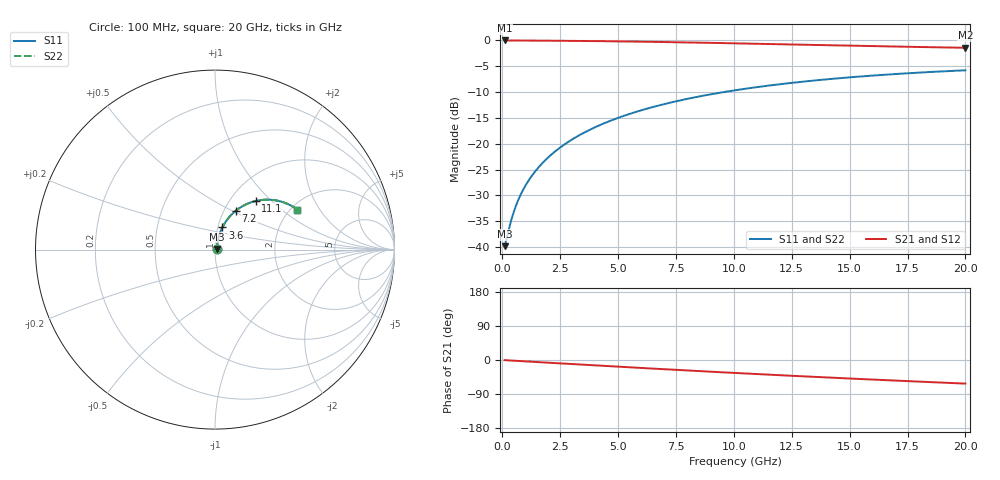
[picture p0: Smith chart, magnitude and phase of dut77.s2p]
! Touchstone file exported from HFSS 2026.1.0
!  File:  C:/ffzhzh/LocalFiles/Ansys_Project_Files/temp_train_TMRDL_77_1782881298_43084.aedt
!  Generated:  12:49:57 PM Jul  1, 2026
!  Design:  TMRDL
!  Project:  temp_train_TMRDL_77_1782881298_43084
! Variables:
!  h_bsmrdl = 2um
!  h_ox = 20um
!  h_rdl = 5um
!  h_sub = 80um
!  h_tmrdl = 2.37um
!  h_tsv = 80um
!  h_via = 3um
!  l_bsmrdl = 300um
!  l_sub = 1396.67um
!  l_tmrdl = 996.67um
!  m_sub = 200um
!  pitch = 35.68um
!  r_tsv = 6um
!  s_tmrdl = 10um
!  w_bsmrdl = 18um
!  w_sub = 500um
!  w_tmrdl = 15.82um
!  x_tsv_center1 = 1004.58um
!  x_tsv_center2 = 1322.58um
!  x_tsv_center3 = 2335.07um
!  x_tsv_center4 = 2653.07um
!  x_tsv_center5 = 3665.56um
!  x_tsv_center6 = 3983.56um
# GHz S MA R 50.000000
! Terminal data exported
! Port[1] = TM_RDL1_1_T1
! Port[2] = TM_RDL1_1_T2
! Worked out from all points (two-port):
!   200 points, 100 MHz to 20 GHz, reference 50 ohm
!   highest |S21| = -0.08 dB at 100 MHz (marker M1); lowest = -1.5 dB at 20 GHz (marker M2)
!   |S21| within 3 dB of the highest: start of sweep to end of sweep
!   lowest |S11| = -39.8 dB at 100 MHz (marker M3), VSWR 1.02, Z = 51 + j0.404 ohm
!   |S11| at or under -10 dB: start of sweep to 9.632 GHz
!   |S22| runs from -39.8 to -5.8 dB; largest |S21 - S12| = 6.3e-15
!   S11 on the Smith chart (normalised r, x): 100 MHz: 1.02, +0.01; 3.6 GHz: 1.05, +0.26; 7.2 GHz: 1.14, +0.53; 11.1 GHz: 1.30, +0.81; 20 GHz: 2.16, +1.30
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0.1  0.01024 22.8  0.9906 -0.4  0.9906 -0.4  0.01024 22.8
! Gamma 0 0 0 0
! Port Impedance 50 0 50 0
0.4  0.01868 56.1  0.9899 -1.5  0.9899 -1.5  0.01868 56.1
0.6  0.02549 63.4  0.9892 -2.2  0.9892 -2.2  0.02549 63.4
0.7  0.02894 65.7  0.9889 -2.6  0.9889 -2.6  0.02894 65.7
0.9  0.03586 68.7  0.9883 -3.3  0.9883 -3.3  0.03586 68.7
1.2  0.04628 71.3  0.9875 -4.3  0.9875 -4.3  0.04628 71.3
1.7  0.06375 73.2  0.9862 -6.1  0.9862 -6.1  0.06375 73.2
2.2  0.08128 73.6  0.9846 -7.9  0.9846 -7.9  0.08128 73.6
2.8  0.1023 73.1  0.9825 -10.0  0.9825 -10.0  0.1023 73.1
3.5  0.1266 71.8  0.9794 -12.4  0.9794 -12.4  0.1266 71.8
3.6  0.13 71.6  0.9789 -12.8  0.9789 -12.8  0.13 71.6
4.3  0.1539 70.0  0.9752 -15.2  0.9752 -15.2  0.1539 70.0
5  0.1773 68.1  0.971 -17.6  0.971 -17.6  0.1773 68.1
5.9  0.2066 65.5  0.9648 -20.7  0.9648 -20.7  0.2066 65.5
6.8  0.2348 62.9  0.958 -23.7  0.958 -23.7  0.2348 62.9
7.2  0.247 61.7  0.9548 -25.0  0.9548 -25.0  0.2471 61.7
8.6  0.288 57.5  0.9428 -29.6  0.9428 -29.6  0.288 57.5
10.1  0.3285 53.0  0.9289 -34.3  0.9289 -34.3  0.3285 53.0
11.1  0.3536 50.0  0.9194 -37.4  0.9194 -37.4  0.3536 50.0
13.4  0.4053 43.4  0.8974 -44.3  0.8974 -44.3  0.4053 43.4
16.7  0.4654 34.3  0.8674 -53.6  0.8674 -53.6  0.4654 34.3
20  0.5104 25.9  0.8419 -62.3  0.8419 -62.3  0.5104 25.8
